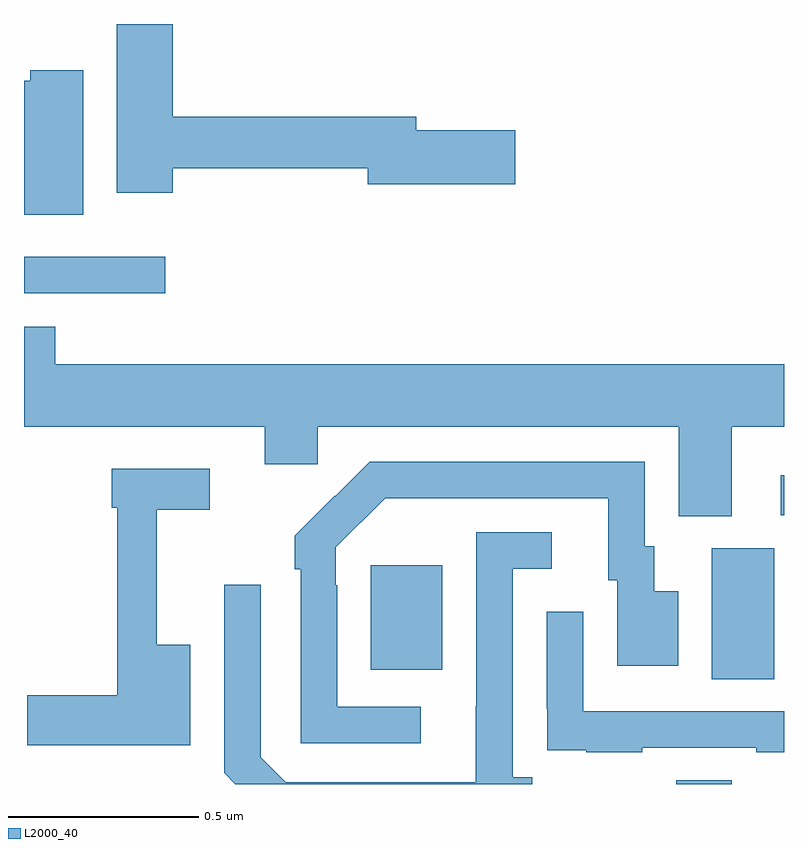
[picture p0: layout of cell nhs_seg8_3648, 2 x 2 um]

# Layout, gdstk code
import gdstk
lib = gdstk.Library(unit=1e-6, precision=1e-09)
def R(c, l, rs):  # rectangles x0, y0, x1, y1
    for r in rs: c.add(gdstk.rectangle(r[:2], r[2:], *l))
def P(c, l, *ps):  # polygons
    for p in ps: c.add(gdstk.Polygon(p, *l))
L2000_40 = (2000, 40)

nhs_seg8_3648 = lib.new_cell('nhs_seg8_3648')
R(nhs_seg8_3648, L2000_40, [(161.716,1108.9,161.863,1108.91), (161.81,1109.176,161.974,1109.52), (160.913,1109.201,161.101,1109.476), (161.991,1109.607,162,1109.713), (160,1110.192,160.372,1110.288)])
P(nhs_seg8_3648, L2000_40, [(160.391,1110.52),(160.904,1110.52),(160.904,1110.478),(161.293,1110.478),(161.293,1110.62),(161.032,1110.62),(161.032,1110.656),(160.391,1110.656),(160.391,1110.9),(160.244,1110.9),(160.244,1110.456),(160.391,1110.456)],
  [(160.156,1110.778),(160.017,1110.778),(160.017,1110.751),(160,1110.751),(160,1110.398),(160.156,1110.398)],
  [(161.863,1109.84),(162,1109.84),(162,1110.004),(160.082,1110.004),(160.082,1110.103),(160,1110.103),(160,1109.84),(160.634,1109.84),(160.634,1109.742),(160.773,1109.742),(160.773,1109.84),(161.723,1109.84),(161.723,1109.605),(161.863,1109.605)],
  [(161.044,1109.103),(160.824,1109.103),(160.824,1109.423),(160.821,1109.423),(160.821,1109.523),(160.95,1109.652),(161.537,1109.652),(161.537,1109.436),(161.561,1109.436),(161.561,1109.211),(161.722,1109.211),(161.722,1109.407),(161.659,1109.407),(161.659,1109.526),(161.634,1109.526),(161.634,1109.748),(160.91,1109.748),(160.819,1109.657),(160.818,1109.658),(160.713,1109.553),(160.713,1109.465),(160.728,1109.465),(160.728,1109.007),(161.044,1109.007)],
  [(160.438,1109.266),(160.349,1109.266),(160.349,1109.622),(160.489,1109.622),(160.489,1109.73),(160.231,1109.73),(160.231,1109.627),(160.246,1109.627),(160.246,1109.134),(160.008,1109.134),(160.008,1109.002),(160.438,1109.002)],
  [(161.338,1108.918),(161.286,1108.918),(161.286,1109.466),(161.389,1109.466),(161.389,1109.562),(161.19,1109.562),(161.19,1109.105),(161.189,1109.105),(161.189,1108.905),(160.689,1108.905),(160.623,1108.971),(160.623,1109.425),(160.527,1109.425),(160.527,1108.929),(160.556,1108.9),(161.338,1108.9)],
  [(161.627,1108.995),(161.927,1108.995),(161.927,1108.983),(162,1108.983),(162,1109.091),(161.472,1109.091),(161.472,1109.353),(161.376,1109.353),(161.376,1109.098),(161.377,1109.098),(161.377,1108.989),(161.479,1108.989),(161.479,1108.983),(161.627,1108.983)])

lib.write_gds('nhs_seg8_3648.gds')
